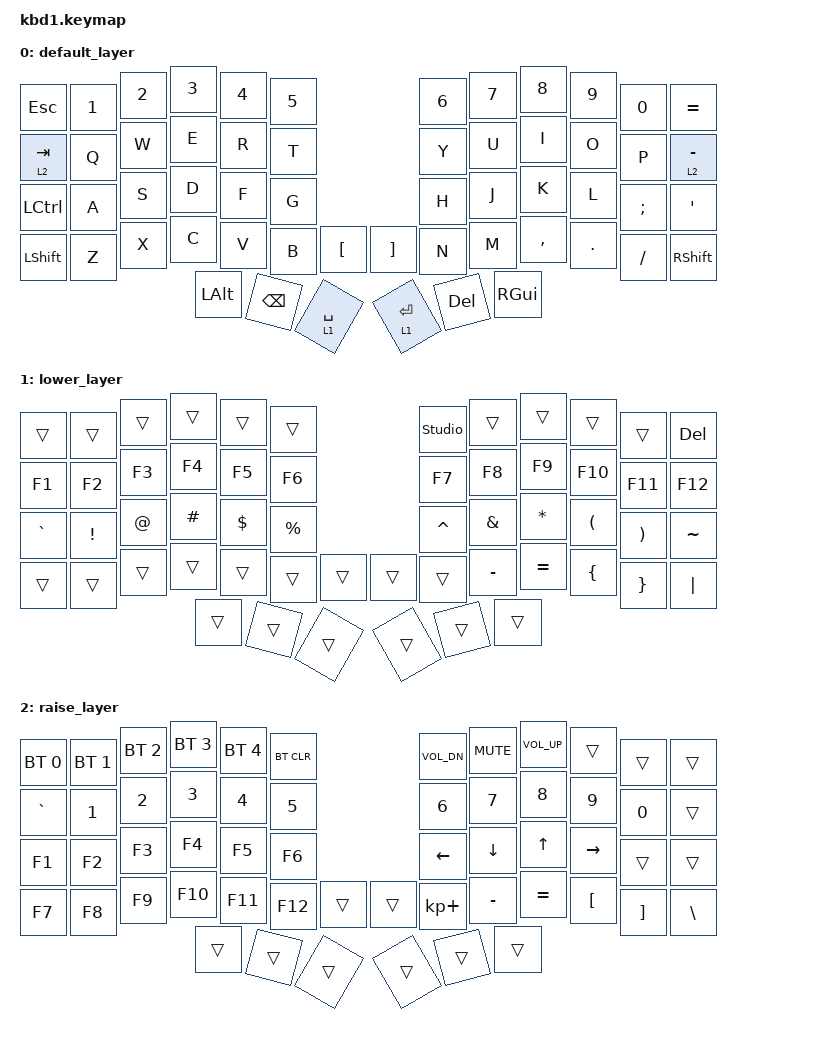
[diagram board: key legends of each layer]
/*
 * Copyright (c) 2020 The ZMK Contributors
 *
 * SPDX-License-Identifier: MIT
 */

#include <behaviors.dtsi>
#include <dt-bindings/zmk/keys.h>
#include <dt-bindings/zmk/bt.h>
#include <dt-bindings/zmk/ext_power.h>

/ {
    keymap {
        compatible = "zmk,keymap";

        default_layer {
// -------------------------------------------------------------------------------------------------------------------
// |  ESC   |  1  |  2  |  3   |  4   |  5   |                    |  6    |  7    |  8    |  9   |   0   |   +    |
// | TAB/L2 |  Q  |  W  |  E   |  R   |  T   |                    |  Y    |  U    |  I    |  O   |   P   |  -/L2  |
// |  CTRL  |  A  |  S  |  D   |  F   |  G   |                    |  H    |  J    |  K    |  L   |   ;   |   '    |
// | SHIFT  |  Z  |  X  |  C   |  V   |  B   |    [    |  |   ]   |  N    |  M    |  ,    |  .   |   /   | SHIFT  |
//                      | ALT  | BSPC |SPC/L1|         |  |       | ENT/L1|  DEL  | GUI   |
            bindings = <
&kp ESC   &kp N1 &kp N2 &kp N3   &kp N4   &kp N5                            &kp N6      &kp N7   &kp N8    &kp N9  &kp N0   &kp EQUAL
&lt 2 TAB &kp Q  &kp W  &kp E    &kp R    &kp T                             &kp Y       &kp U    &kp I     &kp O   &kp P    &lt 2 MINUS
&kp LCTRL &kp A  &kp S  &kp D    &kp F    &kp G                             &kp H       &kp J    &kp K     &kp L   &kp SEMI &kp SQT
&kp LSHFT &kp Z  &kp X  &kp C    &kp V    &kp B                             &kp N       &kp M    &kp COMMA &kp DOT &kp FSLH &kp RSHFT
                        &kp LALT &kp BSPC &lt 1 SPACE &kp LBKT  &kp RBKT    &lt 1 RET   &kp DEL  &kp RGUI
            >;
        };

        lower_layer {
// ------------------------------------------------------------------------------------------------------------
// |       |     |     |      |      |      |                   |UNLOCK|       |       |      |       |  DEL  |
// |  F1   |  F2 |  F3 |  F4  |  F5  |  F6  |                   |  F7  |  F8   |  F9   |  F10 |  F11  |  F12  |
// |   `   |  !  |  @  |  #   |  $   |  %   |                   |  ^   |  &    |  *    |  (   |   )   |   ~   |
// |       |     |     |      |      |      |                   |      |  -    |  +    |  {   |   }   |  "|"  |
//                     |      |      |      |        |  |       |      |       |       |
            bindings = <
&trans     &trans           &trans            &trans            &trans       &trans                       &studio_unlock &trans    &trans    &trans    &trans    &kp DEL
&kp F1     &kp F2           &kp F3            &kp F4            &kp F5       &kp F6                       &kp F7         &kp F8    &kp F9    &kp F10   &kp F11   &kp F12
&kp GRAVE  &kp EXCL         &kp AT            &kp HASH          &kp DOLLAR   &kp PRCNT                    &kp CARET      &kp AMPS  &kp ASTRK &kp LPAR  &kp RPAR  &kp TILDE
&trans     &trans           &trans            &trans            &trans       &trans                       &trans         &kp MINUS &kp EQUAL &kp LBRC  &kp RBRC  &kp PIPE
                                              &trans            &trans       &trans    &trans   &trans    &trans    &trans    &trans
            >;
        };

        raise_layer {
// ------------------------------------------------------------------------------------------------------------
// |  BT1  | BT2 | BT3 |  BT4 |  BT5 |BTCLR |                   | VOL- | MUTE  | VOL+  |      |       |       |
// |   `   |  1  |  2  |  3   |  4   |  5   |                   |  6   |   7   |   8   |  9   |   0   |       |
// |   F1  |  F2 |  F3 |  F4  |  F5  |  F6  |                   |  <-  |   V   |   ^   |  ->  |       |       |
// |   F7  |  F8 |  F9 |  F10 |  F11 |  F12 |                   |  +   |   -   |   =   |  [   |   ]   |   \   |
//                     |      |      |      |        |  |       |      |       |       |
            bindings = <
&bt BT_SEL 0 &bt BT_SEL 1 &bt BT_SEL 2 &bt BT_SEL 3 &bt BT_SEL 4 &bt BT_CLR               &kp C_VOL_DN &kp C_MUTE &kp C_VOL_UP &trans    &trans   &trans
&kp GRAVE    &kp N1       &kp N2       &kp N3       &kp N4       &kp N5                   &kp N6       &kp N7     &kp N8       &kp N9    &kp N0   &trans
&kp F1       &kp F2       &kp F3       &kp F4       &kp F5       &kp F6                   &kp LEFT     &kp DOWN   &kp UP       &kp RIGHT &trans   &trans
&kp F7       &kp F8       &kp F9       &kp F10      &kp F11      &kp F12                  &kp KP_PLUS  &kp MINUS  &kp EQUAL    &kp LBKT  &kp RBKT &kp BSLH
                                       &trans       &trans       &trans     &trans &trans &trans       &trans     &trans
            >;
        };
    };
};
